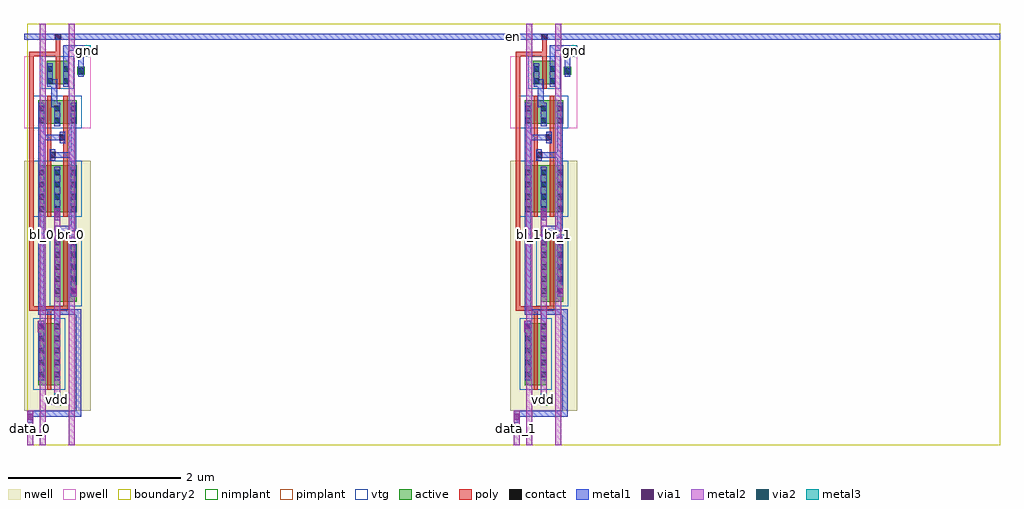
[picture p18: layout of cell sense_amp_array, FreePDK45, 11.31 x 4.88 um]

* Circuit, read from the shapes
.subckt sense_amp_array bl_0 bl_1 br_0 br_1 data_0 data_1 en gnd vdd
M1 n1 n2 data_0 gnd nfet w=0.27u l=0.05u
M2 gnd en n1 gnd nfet w=0.27u l=0.05u
M3 n2 data_0 n1 gnd nfet w=0.27u l=0.05u
M4 n3 n4 data_1 gnd nfet w=0.27u l=0.05u
M5 gnd en n3 gnd nfet w=0.27u l=0.05u
M6 n4 data_1 n3 gnd nfet w=0.27u l=0.05u
M7 data_0 en bl_0 vdd pfet w=0.72u l=0.05u
M8 vdd n2 data_0 vdd pfet w=0.54u l=0.05u
M9 br_0 en n2 vdd pfet w=0.72u l=0.05u
M10 n2 data_0 vdd vdd pfet w=0.54u l=0.05u
M11 data_1 en bl_1 vdd pfet w=0.72u l=0.05u
M12 vdd n4 data_1 vdd pfet w=0.54u l=0.05u
M13 br_1 en n4 vdd pfet w=0.72u l=0.05u
M14 n4 data_1 vdd vdd pfet w=0.54u l=0.05u
.ends

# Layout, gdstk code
import gdstk
lib = gdstk.Library(unit=1e-6, precision=5e-10)
def R(c, l, rs):  # rectangles x0, y0, x1, y1
    for r in rs: c.add(gdstk.rectangle(r[:2], r[2:], *l))
def A(c, l, x, y, w, h, nx, ny, dx, dy):  # array of equal rectangles
    R(c, l, [(x+i*dx, y+j*dy, x+i*dx+w, y+j*dy+h) for i in range(nx) for j in range(ny)])
active = (1, 0)
pwell = (2, 0)
nwell = (3, 0)
nimplant = (4, 0)
pimplant = (5, 0)
vtg = (6, 0)
poly = (9, 0)
contact = (10, 0)
metal1 = (11, 0)
via1 = (12, 0)
metal2 = (13, 0)
via2 = (14, 0)
metal3 = (15, 0)
boundary2 = (239, 0)

sense_amp = lib.new_cell('sense_amp')
R(sense_amp, active, [(0.3075,0.455,0.3975,0.545), (0.1275,0.695,0.3875,1.415), (0.1275,0.695,0.2025,1.415), (0.1275,0.695,0.2025,1.415), (0.3125,0.695,0.3875,1.415), (0.3125,0.695,0.3875,1.415), (0.1275,0.78,0.2025,1.415), (0.3125,0.78,0.3875,1.415), (0.3175,1.665,0.5775,2.385), (0.3175,1.665,0.3925,2.385), (0.3175,1.665,0.3925,2.385), (0.5025,1.665,0.5775,2.385), (0.5025,1.665,0.5775,2.385), (0.3175,1.75,0.3925,2.385), (0.5025,1.75,0.5775,2.385), (0.1275,2.7025,0.2025,3.1975), (0.1275,2.7025,0.3875,3.2425), (0.1275,2.7025,0.2025,3.2425), (0.1275,2.7025,0.2025,3.2425), (0.3125,2.7025,0.3875,3.1975), (0.3125,2.7025,0.3875,3.2425), (0.3125,2.7025,0.3875,3.2425), (0.3175,2.7025,0.3925,3.1975), (0.3175,2.7025,0.5775,3.2425), (0.3175,2.7025,0.3925,3.2425), (0.3175,2.7025,0.3925,3.2425), (0.5025,2.7025,0.5775,3.1975), (0.5025,2.7025,0.5775,3.2425), (0.5025,2.7025,0.5775,3.2425), (0.1275,3.7275,0.2025,3.9425), (0.1275,3.7275,0.3875,3.9975), (0.1275,3.7275,0.2025,3.9975), (0.1275,3.7275,0.2025,3.9975), (0.3125,3.7275,0.3875,3.9425), (0.3125,3.7275,0.3875,3.9975), (0.3125,3.7275,0.3875,3.9975), (0.3175,3.7275,0.3925,3.9425), (0.3175,3.7275,0.5775,3.9975), (0.3175,3.7275,0.3925,3.9975), (0.3175,3.7275,0.3925,3.9975), (0.5025,3.7275,0.5775,3.9425), (0.5025,3.7275,0.5775,3.9975), (0.5025,3.7275,0.5775,3.9975), (0.2275,4.185,0.3025,4.4), (0.2275,4.185,0.4875,4.455), (0.2275,4.185,0.3025,4.455), (0.2275,4.185,0.3025,4.455), (0.4125,4.185,0.4875,4.4), (0.4125,4.185,0.4875,4.455), (0.4125,4.185,0.4875,4.455), (0.58,4.295,0.67,4.385)])
R(sense_amp, pwell, [(-0.035,3.6725,0.74,4.51), (0.0725,3.6725,0.4425,4.0525), (0.2625,3.6725,0.6325,4.0525), (0.1725,4.13,0.5425,4.51), (0.525,4.24,0.725,4.44)])
R(sense_amp, nwell, [(-0.035,0.4,0.74,3.2975), (0.2525,0.4,0.4525,0.6), (0.0725,0.64,0.4425,1.47), (0.2625,1.61,0.6325,2.44), (0.0725,2.6475,0.4425,3.2975), (0.2625,2.6475,0.6325,3.2975)])
R(sense_amp, nimplant, [(0.3075,0.455,0.3975,0.545), (0.1275,3.7275,0.3875,3.9975), (0.3175,3.7275,0.5775,3.9975), (0.2275,4.185,0.4875,4.455)])
R(sense_amp, pimplant, [(0.1275,0.695,0.3875,1.415), (0.3175,1.665,0.5775,2.385), (0.1275,2.7025,0.3875,3.2425), (0.3175,2.7025,0.5775,3.2425), (0.58,4.295,0.67,4.385)])
R(sense_amp, vtg, [(0.0725,0.64,0.4425,1.47), (0.2625,1.61,0.6325,2.44), (0.0725,2.6475,0.4425,3.2975), (0.2625,2.6475,0.6325,3.2975), (0.0725,3.6725,0.4425,4.0525), (0.2625,3.6725,0.6325,4.0525), (0.1725,4.13,0.5425,4.51)])
R(sense_amp, poly, [(0.2325,0.64,0.2825,0.695), (0.2325,0.64,0.2825,1.47), (0.2325,1.415,0.2825,1.47), (0.2325,1.47,0.2825,1.56), (0.0275,1.56,0.4725,1.61), (0.0275,1.61,0.0775,4.51), (0.4225,1.61,0.4725,1.665), (0.4225,1.61,0.4725,2.44), (0.4225,2.385,0.4725,2.44), (0.2325,2.6475,0.2825,2.7025), (0.2325,2.6475,0.2825,3.2975), (0.4225,2.6475,0.4725,2.7025), (0.4225,2.6475,0.4725,3.2975), (0.2325,2.915,0.2825,3.6725), (0.4225,2.915,0.4725,3.6725), (0.2325,3.2425,0.2825,3.2975), (0.4225,3.2425,0.4725,3.2975), (0.2575,3.3275,0.3325,3.4025), (0.3725,3.5275,0.4475,3.6025), (0.2325,3.6725,0.2825,3.7275), (0.2325,3.6725,0.2825,4.0525), (0.4225,3.6725,0.4725,3.7275), (0.4225,3.6725,0.4725,4.0525), (0.2325,3.9975,0.2825,4.0525), (0.4225,3.9975,0.4725,4.0525), (0.3325,4.13,0.3825,4.185), (0.3325,4.13,0.3825,4.51), (0.3325,4.455,0.3825,4.51), (0.0275,4.51,0.3825,4.56), (0.3325,4.56,0.3825,4.765), (0.32,4.6975,0.395,4.7725)])
A(sense_amp, contact, 0.1325, 0.785, 0.065, 0.065, 1, 5, 0, 0.14)
A(sense_amp, contact, 0.3175, 0.785, 0.065, 0.065, 1, 5, 0, 0.14)
A(sense_amp, contact, 0.3225, 1.755, 0.065, 0.065, 1, 5, 0, 0.14)
A(sense_amp, contact, 0.5075, 1.755, 0.065, 0.065, 1, 5, 0, 0.14)
A(sense_amp, contact, 0.1325, 2.7075, 0.065, 0.065, 1, 4, 0, 0.14)
A(sense_amp, contact, 0.3175, 2.7075, 0.065, 0.065, 1, 4, 0, 0.14)
A(sense_amp, contact, 0.3225, 2.7075, 0.065, 0.065, 1, 4, 0, 0.14)
A(sense_amp, contact, 0.5075, 2.7075, 0.065, 0.065, 1, 4, 0, 0.14)
R(sense_amp, contact, [(0.32,0.4675,0.385,0.5325), (0.2625,3.3325,0.3275,3.3975), (0.3775,3.5325,0.4425,3.5975), (0.1325,3.7325,0.1975,3.7975), (0.3175,3.7325,0.3825,3.7975), (0.3225,3.7325,0.3875,3.7975), (0.5075,3.7325,0.5725,3.7975), (0.1325,3.8725,0.1975,3.9375), (0.3175,3.8725,0.3825,3.9375), (0.3225,3.8725,0.3875,3.9375), (0.5075,3.8725,0.5725,3.9375), (0.2325,4.19,0.2975,4.255), (0.4175,4.19,0.4825,4.255), (0.5925,4.3075,0.6575,4.3725), (0.2325,4.33,0.2975,4.395), (0.4175,4.33,0.4825,4.395), (0.325,4.7025,0.39,4.7675)])
R(sense_amp, metal1, [(0.0025,0.2625,0.0675,0.3975), (0.0025,0.3275,0.63,0.3975), (0.565,0.3275,0.63,1.575), (0.285,0.4675,0.42,0.5325), (0.32,0.4675,0.385,0.6025), (0.1325,0.75,0.1975,1.445), (0.3175,0.75,0.3825,1.445), (0.1275,1.31,0.1925,1.445), (0.32,1.3775,0.385,1.575), (0.1325,1.51,0.63,1.575), (0.1325,1.575,0.1975,2.6725), (0.3225,1.72,0.3875,2.415), (0.5075,1.72,0.5725,2.415), (0.51,1.72,0.575,1.855), (0.3225,2.35,0.3875,2.545), (0.3225,2.48,0.5725,2.545), (0.5075,2.48,0.5725,2.675), (0.32,2.61,0.385,2.745), (0.1325,2.6725,0.1975,3.2275), (0.3175,2.6725,0.3825,3.2275), (0.3225,2.6725,0.3875,3.2275), (0.5075,2.6725,0.5725,3.2275), (0.1325,2.835,0.1975,3.7025), (0.5075,2.835,0.5725,3.6975), (0.2625,3.2975,0.3275,3.4325), (0.2825,3.3325,0.5725,3.3975), (0.3775,3.4975,0.4425,3.6325), (0.1325,3.5325,0.4225,3.5975), (0.1325,3.6975,0.1975,3.9725), (0.3175,3.6975,0.3825,3.9725), (0.3225,3.6975,0.3875,3.9725), (0.5075,3.6975,0.5725,3.9725), (0.2825,3.915,0.3525,4.2425), (0.2325,4.155,0.2975,4.43), (0.4175,4.155,0.4825,4.43), (0.5925,4.2725,0.6575,4.4075), (0.5925,4.4075,0.6575,4.6375), (0.4175,4.42,0.4825,4.5725), (0.6575,4.5025,0.6725,4.5725), (0.6725,4.5025,0.7375,4.6375), (0.4175,4.5725,0.74,4.6375), (-0.035,4.7025,0.74,4.7675), (-0.035,4.7025,0.74,4.7675), (0.23,4.7025,0.295,4.7675), (0.29,4.7025,0.425,4.7675)])
R(sense_amp, via1, [(0.0025,0.2975,0.0675,0.3625), (0.32,0.5025,0.385,0.5675), (0.1275,1.345,0.1925,1.41), (0.51,1.755,0.575,1.82), (0.32,2.645,0.385,2.71), (0.6725,4.5375,0.7375,4.6025)])
R(sense_amp, metal2, [(0,0,0.07,0.3975), (0,0,0.07,0.3975), (0.15,0,0.22,4.885), (0.15,0,0.22,4.885), (0.485,0,0.555,4.885), (0.485,0,0.555,4.885), (0.3175,0.4675,0.3875,0.6025), (0.3175,0.4675,0.3875,0.6025), (0.3175,0.6,0.3875,2.61), (0.125,1.31,0.195,1.445), (0.5075,1.72,0.5775,1.855), (0.3175,2.61,0.3875,2.745), (0.67,4.5025,0.74,4.6375), (0.67,4.5025,0.74,4.6375)])
R(sense_amp, boundary2, [(0,0,0.705,4.885)])
sense_amp.add(gdstk.Label('en', (0.258,4.735), layer=11, texttype=0))
sense_amp.add(gdstk.Label('dout', (0.0345,0.023), layer=13, texttype=0))
sense_amp.add(gdstk.Label('gnd', (0.7025,4.61), layer=13, texttype=0))
sense_amp.add(gdstk.Label('br', (0.52,0.023), layer=13, texttype=0))
sense_amp.add(gdstk.Label('bl', (0.19,0.03), layer=13, texttype=0))
sense_amp.add(gdstk.Label('vdd', (0.3525,0.505), layer=13, texttype=0))
sense_amp.add(gdstk.Label('bl', (0.185,2.4425), layer=13, texttype=0))
sense_amp.add(gdstk.Label('br', (0.52,2.4425), layer=13, texttype=0))
sense_amp.add(gdstk.Label('dout', (0.035,0.199), layer=13, texttype=0))
sense_amp.add(gdstk.Label('en', (0.3525,4.735), layer=11, texttype=0))
sense_amp.add(gdstk.Label('vdd', (0.3525,0.535), layer=13, texttype=0))
sense_amp.add(gdstk.Label('gnd', (0.705,4.57), layer=13, texttype=0))

contact_13 = lib.new_cell('contact_13')
R(contact_13, metal2, [(0,0,0.07,0.135)])
R(contact_13, via2, [(0.0025,0.035,0.0675,0.1)])
R(contact_13, metal3, [(0,0,0.07,0.135)])
R(contact_13, boundary2, [(0,0,0.07,0.135)])

sense_amp_array = lib.new_cell('sense_amp_array')
R(sense_amp_array, metal1, [(0,4.7025,11.28,4.7675), (0.32,4.7025,0.385,4.7675), (5.96,4.7025,6.025,4.7675)])
R(sense_amp_array, metal2, [(0,0,0.07,0.3975), (0.15,0,0.22,4.885), (0.485,0,0.555,4.885), (5.64,0,5.71,0.3975), (5.79,0,5.86,4.885), (6.125,0,6.195,4.885)])
R(sense_amp_array, metal3, [(0.3175,0.4675,0.3875,0.6025), (5.9575,0.4675,6.0275,0.6025), (0.67,4.5025,0.74,4.6375), (6.31,4.5025,6.38,4.6375)])
R(sense_amp_array, boundary2, [(0,0,11.28,4.885)])
sense_amp_array.add(gdstk.Reference(sense_amp, (0,0)))
sense_amp_array.add(gdstk.Reference(sense_amp, (5.64,0)))
sense_amp_array.add(gdstk.Reference(contact_13, (0.67,4.5025)))
sense_amp_array.add(gdstk.Reference(contact_13, (0.3175,0.4675)))
sense_amp_array.add(gdstk.Reference(contact_13, (6.31,4.5025)))
sense_amp_array.add(gdstk.Reference(contact_13, (5.9575,0.4675)))
sense_amp_array.add(gdstk.Label('gnd', (6.345,4.57), layer=15, texttype=0))
sense_amp_array.add(gdstk.Label('gnd', (0.705,4.57), layer=15, texttype=0))
sense_amp_array.add(gdstk.Label('vdd', (0.3525,0.535), layer=15, texttype=0))
sense_amp_array.add(gdstk.Label('vdd', (5.9925,0.535), layer=15, texttype=0))
sense_amp_array.add(gdstk.Label('bl_0', (0.185,2.4425), layer=13, texttype=0))
sense_amp_array.add(gdstk.Label('br_0', (0.52,2.4425), layer=13, texttype=0))
sense_amp_array.add(gdstk.Label('data_0', (0.035,0.199), layer=13, texttype=0))
sense_amp_array.add(gdstk.Label('bl_1', (5.825,2.4425), layer=13, texttype=0))
sense_amp_array.add(gdstk.Label('br_1', (6.16,2.4425), layer=13, texttype=0))
sense_amp_array.add(gdstk.Label('data_1', (5.675,0.199), layer=13, texttype=0))
sense_amp_array.add(gdstk.Label('en', (5.64,4.735), layer=11, texttype=0))

lib.write_gds('sense_amp_array.gds')
